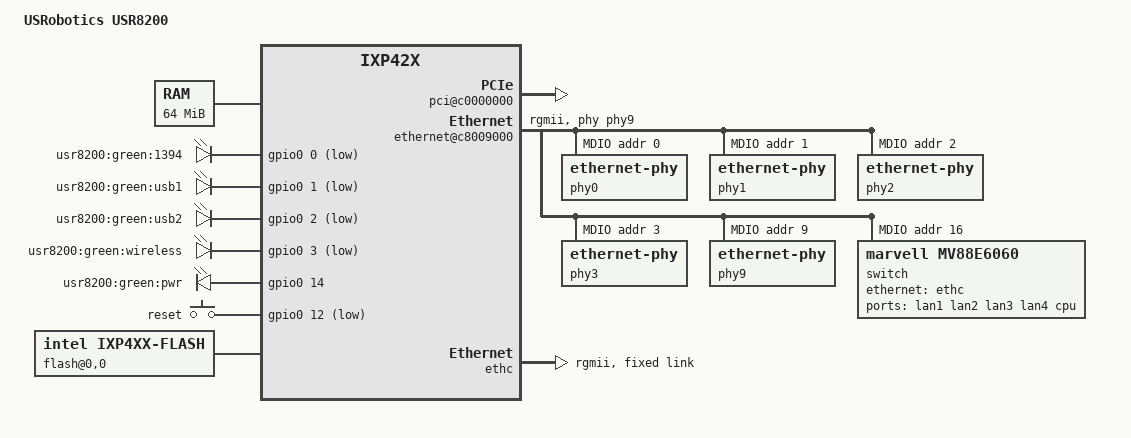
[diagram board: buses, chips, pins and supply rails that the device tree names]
// SPDX-License-Identifier: ISC
/*
 * Device Tree file for the USRobotics USR8200 firewall
 * VPN and NAS. Based on know-how from Peter Denison.
 *
 * This machine is based on IXP422, the USR internal codename
 * is "Jeeves".
 */

/dts-v1/;

#include "intel-ixp42x.dtsi"
#include <dt-bindings/input/input.h>

/ {
	model = "USRobotics USR8200";
	compatible = "usr,usr8200", "intel,ixp42x";
	#address-cells = <1>;
	#size-cells = <1>;

	memory@0 {
		device_type = "memory";
		reg = <0x00000000 0x4000000>;
	};

	chosen {
		bootargs = "console=ttyS0,115200n8";
		stdout-path = "uart1:115200n8";
	};

	aliases {
		/* These are switched around */
		serial0 = &uart1;
		serial1 = &uart0;
	};

	leds {
		compatible = "gpio-leds";
		ieee1394_led: led-1394 {
			label = "usr8200:green:1394";
			gpios = <&gpio0 0 GPIO_ACTIVE_LOW>;
			default-state = "off";
		};
		usb1_led: led-usb1 {
			label = "usr8200:green:usb1";
			gpios = <&gpio0 1 GPIO_ACTIVE_LOW>;
			default-state = "off";
		};
		usb2_led: led-usb2 {
			label = "usr8200:green:usb2";
			gpios = <&gpio0 2 GPIO_ACTIVE_LOW>;
			default-state = "off";
		};
		wireless_led: led-wireless {
			/*
			 * This LED is mounted inside the case but cannot be
			 * seen from the outside: probably USR planned at one
			 * point for the device to have a wireless card, then
			 * changed their mind and didn't mount it, leaving the
			 * LED in place.
			 */
			label = "usr8200:green:wireless";
			gpios = <&gpio0 3 GPIO_ACTIVE_LOW>;
			default-state = "off";
		};
		pwr_led: led-pwr {
			label = "usr8200:green:pwr";
			gpios = <&gpio0 14 GPIO_ACTIVE_HIGH>;
			default-state = "on";
			linux,default-trigger = "heartbeat";
		};
	};

	gpio_keys {
		compatible = "gpio-keys";

		button-reset {
			wakeup-source;
			linux,code = <KEY_RESTART>;
			label = "reset";
			gpios = <&gpio0 12 GPIO_ACTIVE_LOW>;
		};
	};

	soc {
		bus@c4000000 {
			flash@0,0 {
				compatible = "intel,ixp4xx-flash", "cfi-flash";
				bank-width = <2>;
				/* Enable writes on the expansion bus */
				intel,ixp4xx-eb-write-enable = <1>;
				/* 16 MB of Flash mapped in at CS0 */
				reg = <0 0x00000000 0x1000000>;

				partitions {
					compatible = "redboot-fis";
					/* Eraseblock at 0x0fe0000 */
					fis-index-block = <0x7f>;
				};
			};
			rtc@2,0 {
				/* EPSON RTC7301 DG DIL-capsule */
				compatible = "epson,rtc7301dg";
				/*
				 * These timing settings were found in the boardfile patch:
				 * IXP4XX_EXP_CS2 = 0x3fff000 | IXP4XX_EXP_BUS_SIZE(0) | IXP4XX_EXP_BUS_WR_EN |
				 *                  IXP4XX_EXP_BUS_CS_EN | IXP4XX_EXP_BUS_BYTE_EN;
				 */
				intel,ixp4xx-eb-t1 = <0>; // no cycles extra address phase
				intel,ixp4xx-eb-t2 = <0>; // no cycles extra setup phase
				intel,ixp4xx-eb-t3 = <15>; // 15 cycles extra strobe phase
				intel,ixp4xx-eb-t4 = <3>; // 3 cycles extra hold phase
				intel,ixp4xx-eb-t5 = <15>; // 15 cycles extra recovery phase
				intel,ixp4xx-eb-cycle-type = <0>; // Intel cycle
				intel,ixp4xx-eb-byte-access-on-halfword = <0>;
				intel,ixp4xx-eb-mux-address-and-data = <0>;
				intel,ixp4xx-eb-ahb-split-transfers = <0>;
				intel,ixp4xx-eb-write-enable = <1>;
				intel,ixp4xx-eb-byte-access = <1>;
				/* 512 bytes at CS2 */
				reg = <2 0x00000000 0x0000200>;
				reg-io-width = <1>;
				native-endian;
				/* FIXME: try to check if there is an IRQ for the RTC? */
			};
		};

		pci@c0000000 {
			status = "okay";

			/*
			 * Taken from USR8200 boardfile from OpenWrt
			 *
			 * We have 3 slots (IDSEL) with partly swizzled IRQs on slot 16.
			 * We assume the same IRQ for all pins on the remaining slots, that
			 * is what the boardfile was doing.
			 */
			#interrupt-cells = <1>;
			interrupt-map-mask = <0xf800 0 0 7>;
			interrupt-map =
			/* IDSEL 14 used for "Wireless" in the board file */
			<0x7000 0 0 1 &gpio0 7  IRQ_TYPE_LEVEL_LOW>, /* INT A on slot 14 is irq 7 */
			/* IDSEL 15 used for VIA VT6307 IEEE 1394 Firewire */
			<0x7800 0 0 1 &gpio0 8  IRQ_TYPE_LEVEL_LOW>, /* INT A on slot 15 is irq 8 */
			/* IDSEL 16 used for VIA VT6202 USB 2.0 4+1 */
			<0x8000 0 0 1 &gpio0 11 IRQ_TYPE_LEVEL_LOW>, /* INT A on slot 16 is irq 11 */
			<0x8000 0 0 2 &gpio0 10 IRQ_TYPE_LEVEL_LOW>, /* INT B on slot 16 is irq 10 */
			<0x8000 0 0 3 &gpio0 9  IRQ_TYPE_LEVEL_LOW>; /* INT C on slot 16 is irq 9 */
		};

		gpio@c8004000 {
			/* Enable clock out on GPIO 15 */
			intel,ixp4xx-gpio15-clkout;
		};

		/* EthB WAN */
		ethernet@c8009000 {
			status = "okay";
			queue-rx = <&qmgr 3>;
			queue-txready = <&qmgr 20>;
			phy-mode = "rgmii";
			phy-handle = <&phy9>;

			mdio {
				#address-cells = <1>;
				#size-cells = <0>;

				/*
				 * PHY 0..4 are internal to the MV88E6060 switch but appear
				 * as independent devices.
				 */
				phy0: ethernet-phy@0 {
					reg = <0>;
				};
				phy1: ethernet-phy@1 {
					reg = <1>;
				};
				phy2: ethernet-phy@2 {
					reg = <2>;
				};
				phy3: ethernet-phy@3 {
					reg = <3>;
				};

				/* Altima AMI101L used by the WAN port */
				phy9: ethernet-phy@9 {
					reg = <9>;
				};

				/* The switch uses MDIO addresses 16 thru 31 */
				switch@16 {
					compatible = "marvell,mv88e6060";
					reg = <16>;

					ports {
						#address-cells = <1>;
						#size-cells = <0>;

						port@0 {
							reg = <0>;
							label = "lan1";
							phy-handle = <&phy0>;
						};

						port@1 {
							reg = <1>;
							label = "lan2";
							phy-handle = <&phy1>;
						};

						port@2 {
							reg = <2>;
							label = "lan3";
							phy-handle = <&phy2>;
						};

						port@3 {
							reg = <3>;
							label = "lan4";
							phy-handle = <&phy3>;
						};

						port@5 {
							/* Port 5 is the CPU port according to the MV88E6060 datasheet */
							reg = <5>;
							phy-mode = "rgmii-id";
							ethernet = <&ethc>;
							label = "cpu";
							fixed-link {
								speed = <100>;
								full-duplex;
							};
						};
					};
				};
			};
		};

		/* EthC LAN connected to the Marvell DSA Switch */
		ethc: ethernet@c800a000 {
			status = "okay";
			queue-rx = <&qmgr 4>;
			queue-txready = <&qmgr 21>;
			phy-mode = "rgmii";
			fixed-link {
				speed = <100>;
				full-duplex;
			};
		};
	};
};
